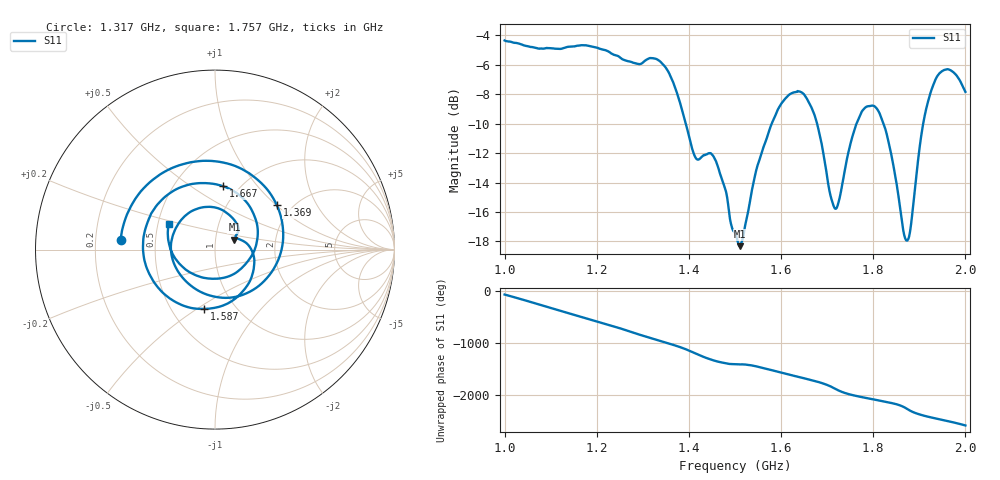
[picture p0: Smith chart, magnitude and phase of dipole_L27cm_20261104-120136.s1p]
! Dipole length 27 cm, measured 20261104-120136
# GHZ S RI R 50.000000000000
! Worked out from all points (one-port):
!   1001 points, 1 GHz to 2 GHz, reference 50 ohm
!   lowest |S11| = -18.3 dB at 1.51 GHz (marker M1), VSWR 1.28, Z = 61.7 + j6.91 ohm
!   |S11| at or under -10 dB: 1.393 GHz to 1.58 GHz (186.4 MHz wide, 12.5 % of centre); 1.678 GHz to 1.764 GHz (85.49 MHz wide, 4.97 % of centre); 1.822 GHz to 1.908 GHz (85.95 MHz wide, 4.61 % of centre)
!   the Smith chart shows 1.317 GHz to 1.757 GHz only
!   S11 on the Smith chart (normalised r, x): 1.317 GHz: 0.31, +0.05; 1.369 GHz: 1.67, +1.01; 1.587 GHz: 0.72, -0.54; 1.667 GHz: 0.84, +0.68; 1.757 GHz: 0.57, +0.17
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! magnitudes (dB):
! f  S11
! 1 GHz  -4.3
! 1.125 GHz  -4.9
! 1.25 GHz  -5.5
! 1.317 GHz  -5.5
! 1.369 GHz  -7.5
! 1.375 GHz  -8.0
! 1.414 GHz  -12.3
! 1.459 GHz  -12.6
! 1.5 GHz  -17.4
! 1.51 GHz  -18.3
! 1.548 GHz  -12.9
! 1.587 GHz  -9.5
! 1.625 GHz  -7.9
! 1.667 GHz  -9.0
! 1.716 GHz  -15.7
! 1.726 GHz  -15.2
! 1.75 GHz  -11.4
! 1.757 GHz  -10.6
! 1.782 GHz  -8.9
! 1.812 GHz  -9.2
! 1.833 GHz  -11.2
! 1.866 GHz  -17.4
! 1.875 GHz  -17.9
! 1.882 GHz  -16.9
! 1.907 GHz  -10.3
! 1.931 GHz  -7.3
! 1.963 GHz  -6.3
! 2 GHz  -7.8
